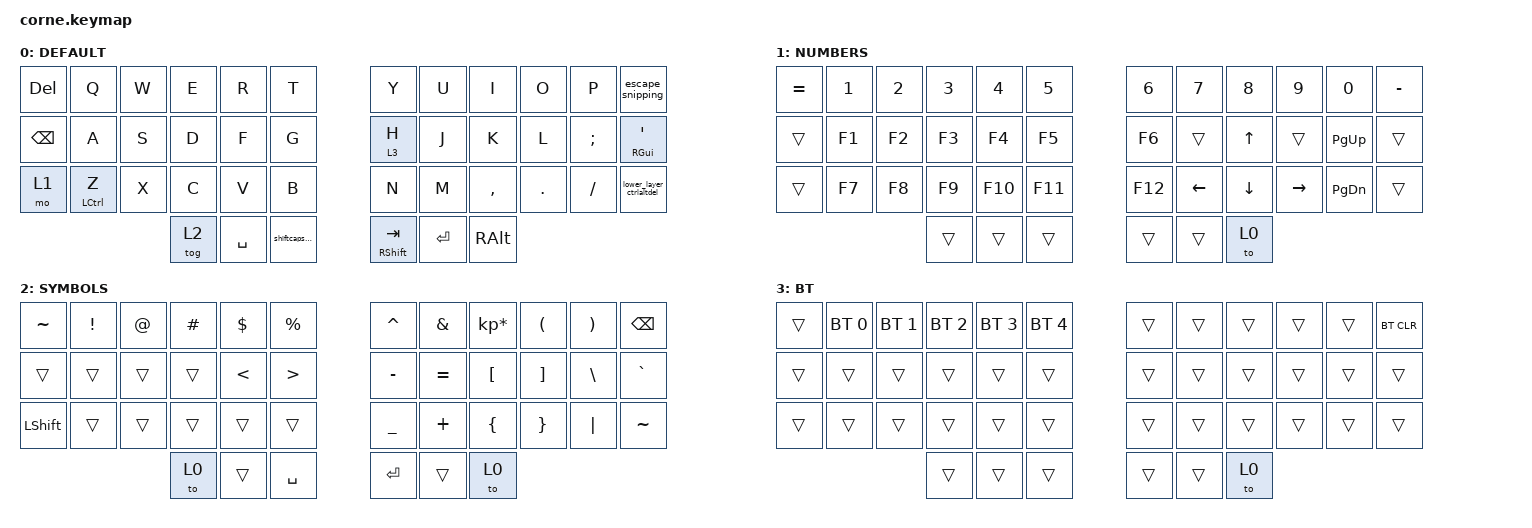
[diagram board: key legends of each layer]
/*
 * Copyright (c) 2020 The ZMK Contributors
 *
 * SPDX-License-Identifier: MIT
 */

#include <behaviors.dtsi>
#include <dt-bindings/zmk/bt.h>
#include <dt-bindings/zmk/keys.h>

/ {
    behaviors {
        shiftcapsword: shiftcapsword {
            compatible = "zmk,behavior-tap-dance";
            label = "SHIFTCAPSWORD";
            #binding-cells = <0>;
            bindings = <&kp LEFT_SHIFT>, <&caps_word>;

            tapping-term-ms = <250>;
        };

        hold_tap_preferred: hold_tap_preferred {
            compatible = "zmk,behavior-hold-tap";
            label = "HOLD_TAP_PREFERRED";
            bindings = <&kp>, <&kp>;

            #binding-cells = <2>;
            flavor = "tap-preferred";
            tapping-term-ms = <175>;
            quick-tap-ms = <(-1)>;
        };

        escape_snipping: escape_snipping {
            compatible = "zmk,behavior-tap-dance";
            label = "ESCAPE_SNIPPING";
            #binding-cells = <0>;
            bindings = <&kp ESCAPE>, <&kp LC(PRINTSCREEN)>;

            tapping-term-ms = <250>;
        };

        lower_layer_ctrlaltdel: lower_layer_ctrlaltdel {
            compatible = "zmk,behavior-tap-dance";
            label = "LOWER_LAYER_CTRLALTDEL";
            #binding-cells = <0>;
            tapping-term-ms = <250>;
            bindings = <&mo 1>, <&kp LC(LA(DEL))>;
        };
    };

    keymap {
        compatible = "zmk,keymap";

        default_layer {
            label = "DEFAULT";

            // -----------------------------------------------------------------------------------------
            // |  TAB |  Q  |  W  |  E  |  R  |  T  |   |  Y  |  U   |  I  |  O  |  P  | BKSP |
            // | CTRL |  A  |  S  |  D  |  F  |  G  |   |  H  |  J   |  K  |  L  |  ;  |  '   |
            // | SHFT |  Z  |  X  |  C  |  V  |  B  |   |  N  |  M   |  ,  |  .  |  /  | ESC  |
            //                    | GUI | LWR | SPC |   | ENT | RSE  | ALT |

            bindings = <
&kp DELETE     &kp Q                        &kp W  &kp E   &kp R      &kp T             &kp Y                                &kp U      &kp I          &kp O    &kp P      &escape_snipping
&kp BACKSPACE  &kp A                        &kp S  &kp D   &kp F      &kp G             &lt 3 H                              &kp J      &kp K          &kp L    &kp SEMI   &hold_tap_preferred RIGHT_GUI APOSTROPHE
&mo 1          &hold_tap_preferred LCTRL Z  &kp X  &kp C   &kp V      &kp B             &kp N                                &kp M      &kp COMMA      &kp DOT  &kp SLASH  &lower_layer_ctrlaltdel
                                                   &tog 2  &kp SPACE  &shiftcapsword    &hold_tap_preferred RIGHT_SHIFT TAB  &kp ENTER  &kp RIGHT_ALT
            >;
        };

        lower_layer {
            label = "NUMBERS";

            // -----------------------------------------------------------------------------------------
            // |  TAB |  1  |  2  |  3  |  4  |  5  |   |  6  |  7  |  8  |  9  |  0  | BKSP |
            // | BTCLR| BT1 | BT2 | BT3 | BT4 | BT5 |   | LFT | DWN |  UP | RGT |     |      |
            // | SHFT |     |     |     |     |     |   |     |     |     |     |     |      |
            //                    | GUI |     | SPC |   | ENT |     | ALT |

            bindings = <
&kp EQUAL  &kp N1  &kp N2  &kp N3  &kp N4   &kp N5     &kp N6   &kp N7    &kp N8    &kp N9     &kp N0         &kp MINUS
&trans     &kp F1  &kp F2  &kp F3  &kp F4   &kp F5     &kp F6   &trans    &kp UP    &trans     &kp PAGE_UP    &trans
&trans     &kp F7  &kp F8  &kp F9  &kp F10  &kp F11    &kp F12  &kp LEFT  &kp DOWN  &kp RIGHT  &kp PAGE_DOWN  &trans
                           &trans  &trans   &trans     &trans   &trans    &to 0
            >;
        };

        raise_layer {
            label = "SYMBOLS";

            // -----------------------------------------------------------------------------------------
            // |  TAB |  !  |  @  |  #  |  $  |  %  |   |  ^  |  &  |  *  |  (  |  )  | BKSP |
            // | CTRL |     |     |     |     |     |   |  -  |  =  |  [  |  ]  |  \  |  `   |
            // | SHFT |     |     |     |     |     |   |  _  |  +  |  {  |  }  | "|" |  ~   |
            //                    | GUI |     | SPC |   | ENT |     | ALT |

            bindings = <
&kp TILDE  &kp EXCL  &kp AT  &kp HASH  &kp DLLR       &kp PRCNT           &kp CARET  &kp AMPS   &kp KP_MULTIPLY  &kp LPAR  &kp RPAR  &kp BSPC
&trans     &trans    &trans  &trans    &kp LESS_THAN  &kp GREATER_THAN    &kp MINUS  &kp EQUAL  &kp LBKT         &kp RBKT  &kp BSLH  &kp GRAVE
&kp LSHFT  &trans    &trans  &trans    &trans         &trans              &kp UNDER  &kp PLUS   &kp LBRC         &kp RBRC  &kp PIPE  &kp TILDE
                             &to 0     &trans         &kp SPACE           &kp RET    &trans     &to 0
            >;
        };

        layer_3 {
            label = "BT";
            bindings = <
&trans  &bt BT_SEL 0  &bt BT_SEL 1  &bt BT_SEL 2  &bt BT_SEL 3  &bt BT_SEL 4    &trans  &trans  &trans  &trans  &trans  &bt BT_CLR
&trans  &trans        &trans        &trans        &trans        &trans          &trans  &trans  &trans  &trans  &trans  &trans
&trans  &trans        &trans        &trans        &trans        &trans          &trans  &trans  &trans  &trans  &trans  &trans
                                    &trans        &trans        &trans          &trans  &trans  &to 0
            >;
        };
    };
};
